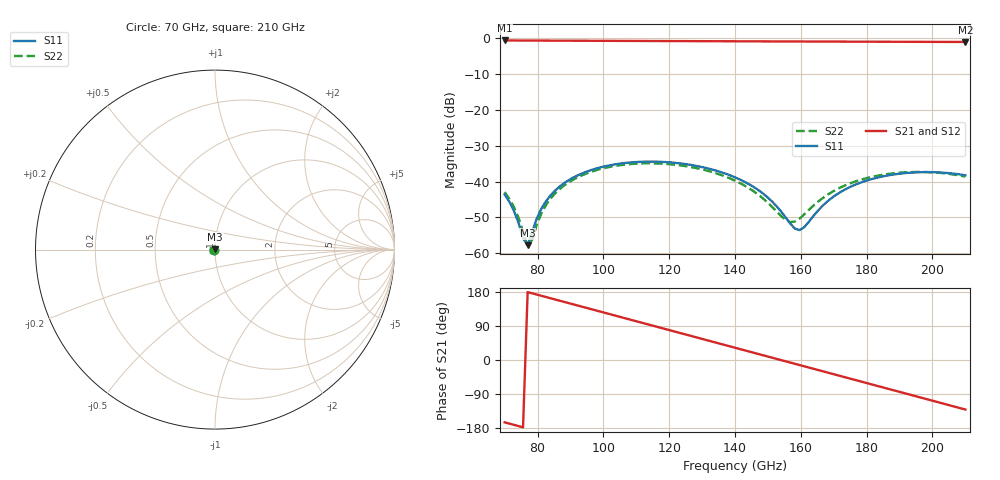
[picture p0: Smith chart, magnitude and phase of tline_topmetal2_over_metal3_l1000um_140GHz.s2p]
#  GHZ S DB R 50
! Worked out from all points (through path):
!   101 points, 70 GHz to 210 GHz, reference 50 ohm
!   highest |S21| = -0.68 dB at 70 GHz (marker M1); lowest = -1.1 dB at 210 GHz (marker M2)
!   group delay of S21, straight-line fit = 6.47 ps
!   lowest |S11| = -57.8 dB at 77 GHz (marker M3), VSWR 1.00, Z = 50 + j0.123 ohm
!   |S11| at or under -10 dB: start of sweep to end of sweep
!   |S22| runs from -58.0 to -34.9 dB; largest |S21 - S12| = 1.1e-14
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70  -43.55 -176.9  -0.68 -164.5  -0.68 -164.5  -42.93 -176.1
74.2  -51.43 155.0  -0.70 -174.3  -0.70 -174.3  -49.99 159.9
75.6  -55.78 128.6  -0.70 -177.6  -0.70 -177.6  -53.93 141.5
77  -57.79 73.1  -0.71 179.2  -0.71 179.2  -57.99 98.9
78.4  -53.95 30.8  -0.71 175.9  -0.71 175.9  -56.13 43.2
79.8  -50.23 12.4  -0.72 172.6  -0.72 172.6  -51.96 16.9
82.6  -45.43 -5.5  -0.73 166.1  -0.73 166.1  -46.50 -4.5
86.8  -41.32 -21.8  -0.74 156.3  -0.74 156.3  -42.03 -21.7
93.8  -37.63 -43.3  -0.77 140.0  -0.77 140.0  -38.14 -43.6
106.4  -34.84 -78.6  -0.81 110.7  -0.81 110.7  -35.29 -79.2
117.6  -34.50 -109.4  -0.84 84.6  -0.84 84.6  -35.00 -110.4
128.8  -35.72 -140.8  -0.88 58.5  -0.88 58.5  -36.35 -142.5
140  -38.82 -174.1  -0.91 32.4  -0.91 32.4  -39.74 -177.8
149.8  -44.30 149.9  -0.94 9.6  -0.94 9.6  -45.74 139.2
156.8  -51.72 97.1  -0.96 -6.8  -0.96 -6.8  -51.29 67.1
159.6  -53.53 49.9  -0.97 -13.3  -0.97 -13.3  -50.32 27.4
163.8  -49.62 -8.2  -0.98 -23.1  -0.98 -23.1  -46.72 -11.0
168  -45.58 -35.5  -0.99 -32.8  -0.99 -32.8  -43.73 -33.9
173.6  -42.12 -58.7  -1.01 -45.9  -1.01 -45.9  -41.00 -56.3
187.6  -38.11 -103.1  -1.05 -78.5  -1.05 -78.5  -37.75 -101.2
198.8  -37.37 -135.6  -1.07 -104.6  -1.07 -104.6  -37.37 -134.7
210  -38.24 -168.0  -1.10 -130.7  -1.10 -130.7  -38.62 -168.8
